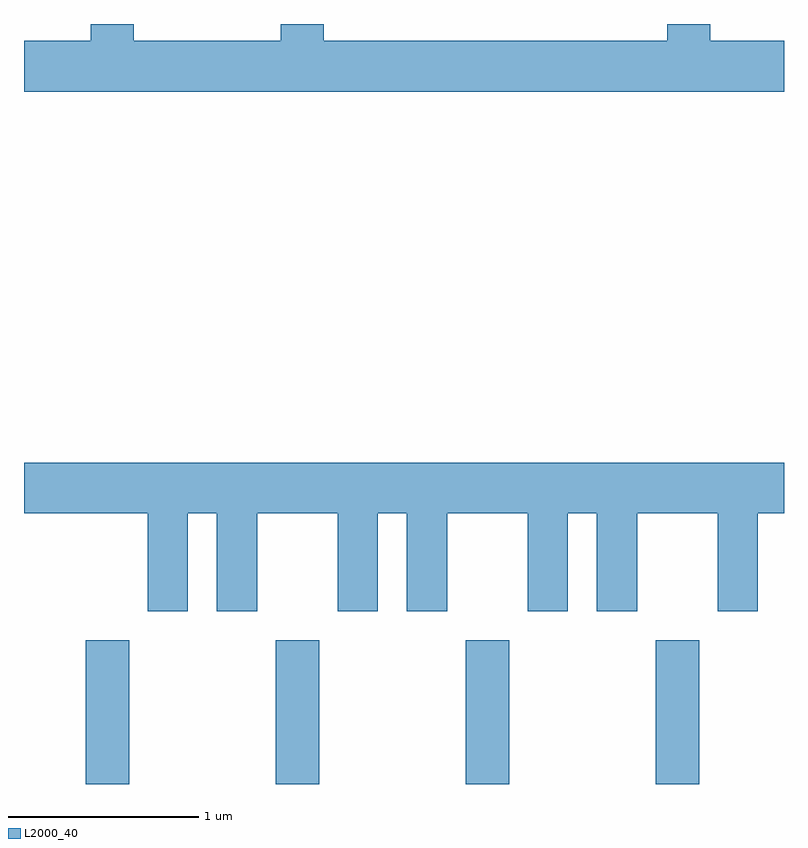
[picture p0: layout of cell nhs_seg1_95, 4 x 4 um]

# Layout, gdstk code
import gdstk
lib = gdstk.Library(unit=1e-6, precision=1e-09)
def R(c, l, rs):  # rectangles x0, y0, x1, y1
    for r in rs: c.add(gdstk.rectangle(r[:2], r[2:], *l))
def A(c, l, x, y, w, h, nx, ny, dx, dy):  # array of equal rectangles
    R(c, l, [(x+i*dx, y+j*dy, x+i*dx+w, y+j*dy+h) for i in range(nx) for j in range(ny)])
def P(c, l, *ps):  # polygons
    for p in ps: c.add(gdstk.Polygon(p, *l))
L2000_40 = (2000, 40)

nhs_seg1_95 = lib.new_cell('nhs_seg1_95')
A(nhs_seg1_95, L2000_40, 187.936, 893.712, 0.228, 0.757, 4, 1, 1, 0)
P(nhs_seg1_95, L2000_40, [(191.611,897.624),(191.224,897.624),(191.224,897.712),(190.996,897.712),(190.996,897.624),(189.189,897.624),(189.189,897.712),(188.961,897.712),(188.961,897.624),(188.189,897.624),(188.189,897.712),(187.961,897.712),(187.961,897.624),(187.611,897.624),(187.611,897.356),(191.611,897.356)],
  [(188.474,895.136),(188.626,895.136),(188.626,894.621),(188.839,894.621),(188.839,895.136),(189.261,895.136),(189.261,894.621),(189.474,894.621),(189.474,895.136),(189.626,895.136),(189.626,894.621),(189.839,894.621),(189.839,895.136),(190.261,895.136),(190.261,894.621),(190.474,894.621),(190.474,895.136),(190.626,895.136),(190.626,894.621),(190.839,894.621),(190.839,895.136),(191.261,895.136),(191.261,894.621),(191.474,894.621),(191.474,895.136),(191.611,895.136),(191.611,895.404),(187.611,895.404),(187.611,895.136),(188.261,895.136),(188.261,894.621),(188.474,894.621)])

lib.write_gds('nhs_seg1_95.gds')
